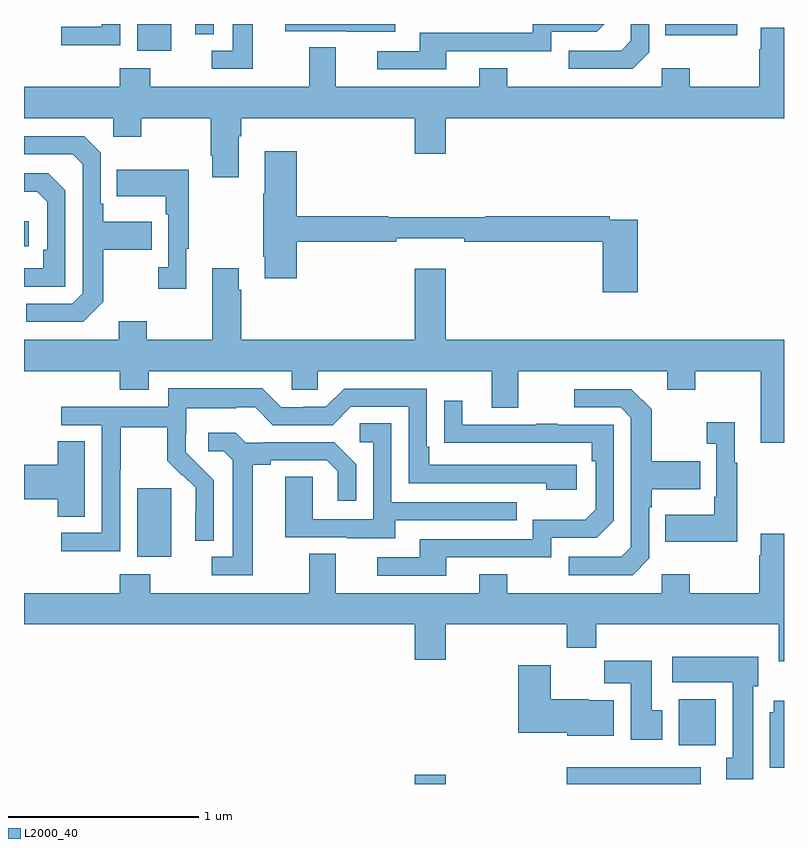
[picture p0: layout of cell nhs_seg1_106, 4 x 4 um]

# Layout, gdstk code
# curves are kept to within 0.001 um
import gdstk
lib = gdstk.Library(unit=1e-6, precision=1e-09)
def R(c, l, rs):  # rectangles x0, y0, x1, y1
    for r in rs: c.add(gdstk.rectangle(r[:2], r[2:], *l))
def P(c, l, *ps):  # polygons
    for p in ps: c.add(gdstk.Polygon(p, *l))
L2000_40 = (2000, 40)

nhs_seg1_106 = lib.new_cell('nhs_seg1_106')
R(nhs_seg1_106, L2000_40, [(117.056,576.199,117.22,576.247), (117.857,576.199,118.561,576.286), (118.445,576.404,118.642,576.646), (115.595,577.394,115.774,577.755), (115,579.03,115.024,579.16), (115.595,580.058,115.774,580.199), (118.375,580.139,118.753,580.199), (115.902,580.144,115.998,580.199)])
P(nhs_seg1_106, L2000_40, [(116.203,580.199),(116.099,580.199),(116.099,580.059),(115.989,580.059),(115.989,579.963),(116.203,579.963)],
  [(115.506,580.199),(115.41,580.199),(115.41,580.185),(115.197,580.185),(115.197,580.087),(115.506,580.087)],
  [(117.223,580.056),(117.774,580.056),(117.774,580.158),(118.014,580.158),(118.055,580.199),(117.678,580.199),(117.678,580.152),(117.083,580.152),(117.083,580.056),(116.859,580.056),(116.859,579.96),(117.223,579.96)],
  [(116.953,580.199),(116.375,580.199),(116.375,580.161),(116.699,580.161),(116.699,580.157),(116.953,580.157)],
  [(118.29,580.05),(118.29,580.199),(118.194,580.199),(118.194,580.11),(118.143,580.059),(117.867,580.059),(117.867,579.963),(118.203,579.963)],
  [(116.131,579.608),(116.144,579.608),(116.144,579.704),(117.056,579.704),(117.056,579.516),(117.22,579.516),(117.22,579.704),(119,579.704),(119,580.18),(118.877,580.18),(118.877,580.067),(118.87,580.067),(118.87,579.868),(118.503,579.868),(118.503,579.967),(118.356,579.967),(118.356,579.868),(117.543,579.868),(117.543,579.967),(117.395,579.967),(117.395,579.868),(116.641,579.868),(116.641,580.076),(116.501,580.076),(116.501,579.868),(115.665,579.868),(115.665,579.967),(115.505,579.967),(115.505,579.868),(115,579.868),(115,579.704),(115.47,579.704),(115.47,579.605),(115.617,579.605),(115.617,579.704),(115.984,579.704),(115.984,579.505),(115.991,579.505),(115.991,579.393),(116.131,579.393)],
  [(115.417,578.737),(115.417,579.01),(115.673,579.01),(115.673,579.157),(115.417,579.157),(115.417,579.253),(115.404,579.253),(115.404,579.522),(115.317,579.609),(115,579.609),(115,579.513),(115.257,579.513),(115.308,579.462),(115.308,578.781),(115.254,578.727),(115.011,578.727),(115.011,578.631),(115.311,578.631)],
  [(118.229,579.168),(118.082,579.168),(118.082,579.188),(117.427,579.188),(117.427,579.181),(116.918,579.181),(116.918,579.188),(116.435,579.188),(116.435,579.529),(116.267,579.529),(116.267,579.305),(116.26,579.305),(116.26,578.974),(116.267,578.974),(116.267,578.862),(116.435,578.862),(116.435,579.052),(116.96,579.052),(116.96,579.071),(117.316,579.071),(117.316,579.052),(118.046,579.052),(118.046,578.787),(118.229,578.787)],
  [(115.855,579.017),(115.867,579.017),(115.867,579.433),(115.489,579.433),(115.489,579.293),(115.746,579.293),(115.746,579.197),(115.758,579.197),(115.758,578.918),(115.707,578.918),(115.707,578.805),(115.855,578.805)],
  [(115.218,579.324),(115.128,579.414),(115,579.414),(115,579.317),(115.069,579.317),(115.122,579.264),(115.122,579.01),(115.102,579.01),(115.102,578.913),(115,578.913),(115,578.817),(115.218,578.817)],
  [(119,578.536),(117.22,578.536),(117.22,578.911),(117.056,578.911),(117.056,578.536),(116.144,578.536),(116.144,578.801),(116.131,578.801),(116.131,578.914),(115.991,578.914),(115.991,578.536),(115.647,578.536),(115.647,578.635),(115.499,578.635),(115.499,578.536),(115,578.536),(115,578.372),(115.505,578.372),(115.505,578.273),(115.657,578.273),(115.657,578.372),(116.409,578.372),(116.409,578.274),(116.547,578.274),(116.547,578.372),(117.461,578.372),(117.461,578.178),(117.601,578.178),(117.601,578.372),(118.385,578.372),(118.385,578.273),(118.533,578.273),(118.533,578.372),(118.877,578.372),(118.877,577.995),(119,577.995)],
  [(115.506,577.852),(115.509,577.852),(115.509,578.076),(115.753,578.076),(115.753,577.901),(115.83,577.824),(115.833,577.827),(115.904,577.757),(115.904,577.634),(115.902,577.634),(115.902,577.48),(115.998,577.48),(115.998,577.798),(115.852,577.946),(115.852,578.043),(115.854,578.043),(115.854,578.177),(116.117,578.177),(116.117,578.181),(116.217,578.181),(116.31,578.088),(116.625,578.088),(116.721,578.184),(117.024,578.184),(117.024,577.782),(117.749,577.782),(117.749,577.748),(117.91,577.748),(117.91,577.878),(117.133,577.878),(117.133,577.975),(117.12,577.975),(117.12,578.28),(116.685,578.28),(116.589,578.184),(116.471,578.184),(116.471,578.181),(116.355,578.181),(116.255,578.281),(115.758,578.281),(115.758,578.184),(115.197,578.184),(115.197,578.088),(115.41,578.088),(115.41,577.521),(115.197,577.521),(115.197,577.423),(115.506,577.423)],
  [(118.29,577.386),(118.29,577.655),(118.303,577.655),(118.303,577.751),(118.559,577.751),(118.559,577.899),(118.303,577.899),(118.303,578.171),(118.197,578.277),(117.897,578.277),(117.897,578.181),(118.14,578.181),(118.194,578.127),(118.194,577.446),(118.143,577.395),(117.867,577.395),(117.867,577.299),(118.203,577.299)],
  [(117.223,577.392),(117.774,577.392),(117.774,577.494),(118.014,577.494),(118.104,577.584),(118.104,578.091),(117.809,578.091),(117.809,578.096),(117.697,578.096),(117.697,578.091),(117.307,578.091),(117.307,578.215),(117.211,578.215),(117.211,577.996),(117.988,577.995),(117.988,577.898),(118.008,577.898),(118.008,577.644),(117.955,577.591),(117.678,577.591),(117.678,577.488),(117.083,577.488),(117.083,577.392),(116.859,577.392),(116.859,577.296),(117.223,577.296)],
  [(118.753,577.891),(118.741,577.891),(118.741,578.104),(118.593,578.104),(118.593,577.991),(118.644,577.991),(118.644,577.711),(118.632,577.711),(118.632,577.615),(118.375,577.615),(118.375,577.475),(118.753,577.475)],
  [(116.953,577.587),(117.593,577.587),(117.593,577.683),(116.934,577.683),(116.934,578.099),(116.766,578.099),(116.766,577.998),(116.838,577.998),(116.838,577.593),(116.52,577.593),(116.52,577.817),(116.375,577.817),(116.375,577.497),(116.699,577.497),(116.699,577.493),(116.953,577.493)],
  [(116.203,577.88),(116.299,577.88),(116.299,577.902),(116.594,577.902),(116.651,577.845),(116.651,577.689),(116.748,577.689),(116.748,577.882),(116.632,577.998),(116.26,577.998),(116.26,577.995),(116.166,577.995),(116.114,578.047),(115.971,578.047),(115.971,577.95),(116.052,577.95),(116.099,577.903),(116.099,577.395),(115.989,577.395),(115.989,577.299),(116.203,577.299)],
  [(115.321,578.003),(115.178,578.003),(115.178,577.88),(115,577.88),(115,577.697),(115.178,577.697),(115.178,577.606),(115.321,577.606)],
  [(119,577.516),(118.877,577.516),(118.877,577.403),(118.87,577.403),(118.87,577.204),(118.503,577.204),(118.503,577.303),(118.356,577.303),(118.356,577.204),(117.543,577.204),(117.543,577.303),(117.395,577.303),(117.395,577.204),(116.641,577.204),(116.641,577.412),(116.501,577.412),(116.501,577.204),(115.665,577.204),(115.665,577.303),(115.505,577.303),(115.505,577.204),(115,577.204),(115,577.04),(117.056,577.04),(117.056,576.852),(117.22,576.852),(117.22,577.04),(117.857,577.04),(117.857,576.916),(118.013,576.916),(118.013,577.04),(118.973,577.04),(118.973,576.846),(119,576.846)],
  [(118.837,576.714),(118.864,576.714),(118.864,576.868),(118.413,576.868),(118.413,576.734),(118.73,576.734),(118.73,576.338),(118.697,576.338),(118.697,576.225),(118.837,576.225)],
  [(118.36,576.588),(118.303,576.588),(118.303,576.847),(118.054,576.847),(118.054,576.728),(118.193,576.728),(118.193,576.432),(118.36,576.432)],
  [(118.105,576.64),(117.972,576.64),(117.972,576.646),(117.772,576.646),(117.772,576.823),(117.602,576.823),(117.602,576.47),(117.858,576.47),(117.858,576.452),(118.105,576.452)],
  [(119,576.637),(118.946,576.637),(118.946,576.576),(118.925,576.576),(118.925,576.284),(119,576.284)])

lib.write_gds('nhs_seg1_106.gds')
